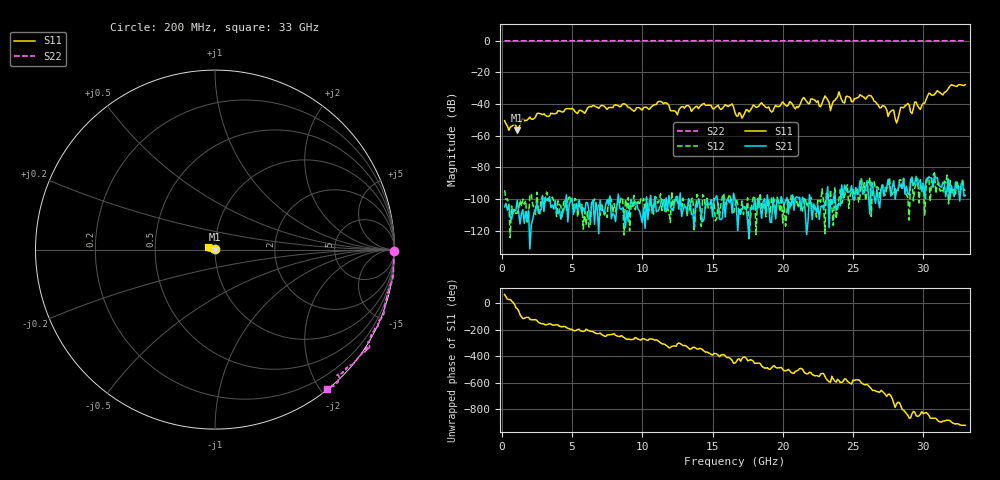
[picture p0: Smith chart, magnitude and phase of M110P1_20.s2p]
# GHZ S RI R 50
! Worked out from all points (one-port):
!   329 points, 200 MHz to 33 GHz, reference 50 ohm
!   lowest |S11| = -56.6 dB at 1.1 GHz (marker M1), VSWR 1.00, Z = 50.1 - j0.0954 ohm
!   |S11| at or under -10 dB: start of sweep to end of sweep
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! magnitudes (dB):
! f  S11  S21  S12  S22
! 200 MHz  -50.6  -105.0  -94.4  0.0
! 1.1 GHz  -56.6  -100.9  -108.9  0.0
! 2.6 GHz  -45.8  -109.0  -107.3  0.0
! 5.7 GHz  -44.5  -108.8  -103.5  0.0
! 11.2 GHz  -38.4  -106.3  -101.1  -0.1
! 12.5 GHz  -46.8  -98.3  -101.7  -0.1
! 14.4 GHz  -39.7  -112.5  -98.6  0.0
! 16.6 GHz  -45.4  -100.2  -105.0  0.0
! 22.1 GHz  -36.8  -113.0  -105.8  0.0
! 22.7 GHz  -41.6  -104.9  -102.0  0.1
! 23 GHz  -34.9  -102.1  -122.0  0.0
! 23.4 GHz  -44.2  -100.2  -94.4  0.1
! 24 GHz  -32.3  -102.6  -99.9  0.0
! 24.4 GHz  -39.4  -91.2  -98.8  0.0
! 26.2 GHz  -34.6  -109.5  -86.6  0.0
! 27.6 GHz  -45.4  -90.7  -86.6  -0.1
! 27.9 GHz  -43.8  -88.5  -95.3  -0.1
! 28.1 GHz  -52.0  -94.6  -96.2  -0.1
! 28.4 GHz  -42.1  -92.0  -87.9  -0.1
! 29.2 GHz  -46.0  -86.2  -86.7  -0.1
! 30.4 GHz  -33.2  -86.0  -86.9  -0.2
! 33 GHz  -27.8  -97.7  -94.3  0.0
